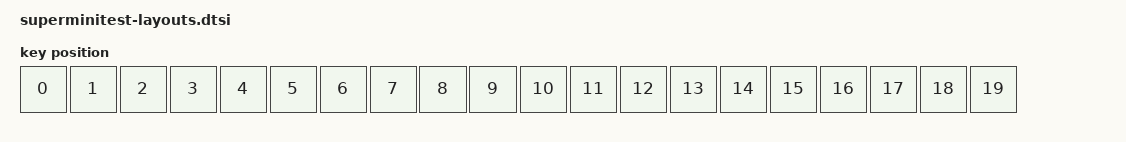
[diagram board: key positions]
#include <physical_layouts.dtsi>

/ {
    physical_layout0: physical_layout_0 {
        compatible = "zmk,physical-layout";
        display-name = "SuperminiTest";
        keys    
            = <&key_physical_attrs 100 100     0    0       0     0     0>
            , <&key_physical_attrs 100 100   100    0       0     0     0>
            , <&key_physical_attrs 100 100   200    0       0     0     0>
            , <&key_physical_attrs 100 100   300    0       0     0     0>
            , <&key_physical_attrs 100 100   400    0       0     0     0>
            , <&key_physical_attrs 100 100   500    0       0     0     0>
            , <&key_physical_attrs 100 100   600    0       0     0     0>
            , <&key_physical_attrs 100 100   700    0       0     0     0>
            , <&key_physical_attrs 100 100   800    0       0     0     0>
            , <&key_physical_attrs 100 100   900    0       0     0     0>
            , <&key_physical_attrs 100 100  1000    0       0     0     0>
            , <&key_physical_attrs 100 100  1100    0       0     0     0>
            , <&key_physical_attrs 100 100  1200    0       0     0     0>
            , <&key_physical_attrs 100 100  1300    0       0     0     0>
            , <&key_physical_attrs 100 100  1400    0       0     0     0>
            , <&key_physical_attrs 100 100  1500    0       0     0     0>
            , <&key_physical_attrs 100 100  1600    0       0     0     0>
            , <&key_physical_attrs 100 100  1700    0       0     0     0>
            , <&key_physical_attrs 100 100  1800    0       0     0     0>
            , <&key_physical_attrs 100 100  1900    0       0     0     0>
            ;
    };
};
